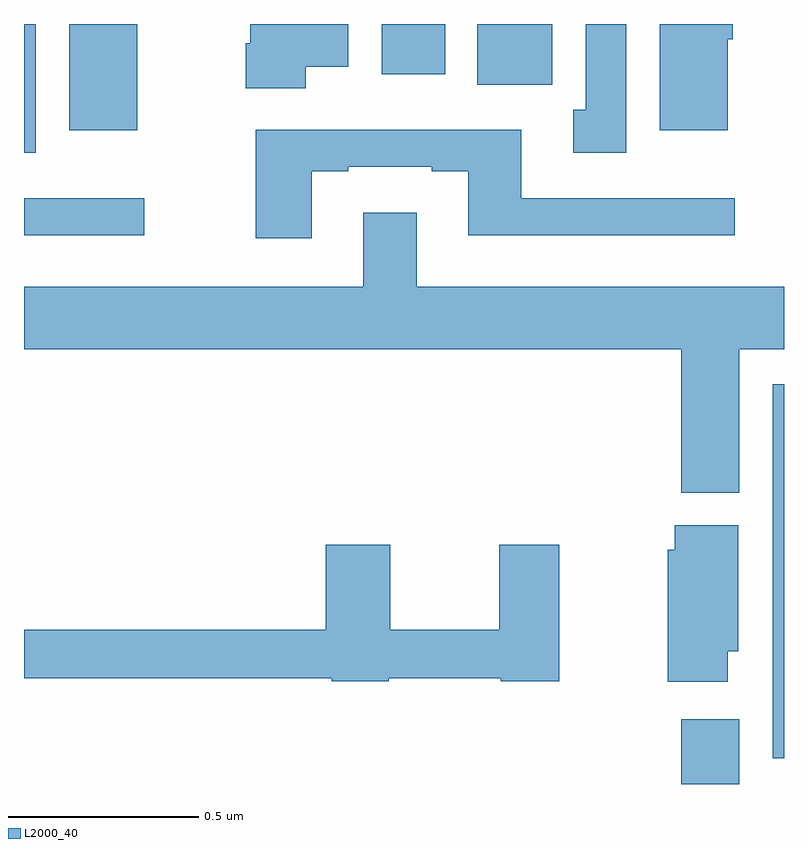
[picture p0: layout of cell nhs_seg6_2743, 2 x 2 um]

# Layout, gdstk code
import gdstk
lib = gdstk.Library(unit=1e-6, precision=1e-09)
def R(c, l, rs):  # rectangles x0, y0, x1, y1
    for r in rs: c.add(gdstk.rectangle(r[:2], r[2:], *l))
def P(c, l, *ps):  # polygons
    for p in ps: c.add(gdstk.Polygon(p, *l))
L2000_40 = (2000, 40)

nhs_seg6_2743 = lib.new_cell('nhs_seg6_2743')
R(nhs_seg6_2743, L2000_40, [(148.73,971.5,148.882,971.671), (148.971,971.568,149,972.552), (147,972.944,147.316,973.041), (147,973.161,147.031,973.5), (147.119,973.22,147.298,973.5), (148.193,973.34,148.39,973.5), (147.941,973.368,148.108,973.5)])
P(nhs_seg6_2743, L2000_40, [(148.852,973.46),(148.865,973.46),(148.865,973.5),(148.673,973.5),(148.673,973.22),(148.852,973.22)],
  [(148.585,973.5),(148.478,973.5),(148.478,973.274),(148.445,973.274),(148.445,973.161),(148.585,973.161)],
  [(147.742,973.388),(147.853,973.388),(147.853,973.5),(147.595,973.5),(147.595,973.449),(147.584,973.449),(147.584,973.331),(147.742,973.331)],
  [(147.757,973.113),(147.853,973.113),(147.853,973.125),(148.073,973.125),(148.073,973.113),(148.169,973.113),(148.169,972.944),(148.87,972.944),(148.87,973.041),(148.309,973.041),(148.309,973.222),(147.61,973.222),(147.61,972.936),(147.757,972.936)],
  [(148.882,972.644),(149,972.644),(149,972.808),(148.033,972.808),(148.033,973.003),(147.893,973.003),(147.893,972.808),(147,972.808),(147,972.644),(148.73,972.644),(148.73,972.266),(148.882,972.266)],
  [(148.852,971.85),(148.879,971.85),(148.879,972.181),(148.712,972.181),(148.712,972.117),(148.694,972.117),(148.694,971.769),(148.852,971.769)],
  [(147.96,971.778),(148.254,971.778),(148.254,971.77),(148.408,971.77),(148.408,972.13),(148.25,972.13),(148.25,971.906),(147.964,971.906),(147.964,972.13),(147.794,972.13),(147.794,971.906),(147,971.906),(147,971.778),(147.81,971.778),(147.81,971.77),(147.96,971.77)])

lib.write_gds('nhs_seg6_2743.gds')
